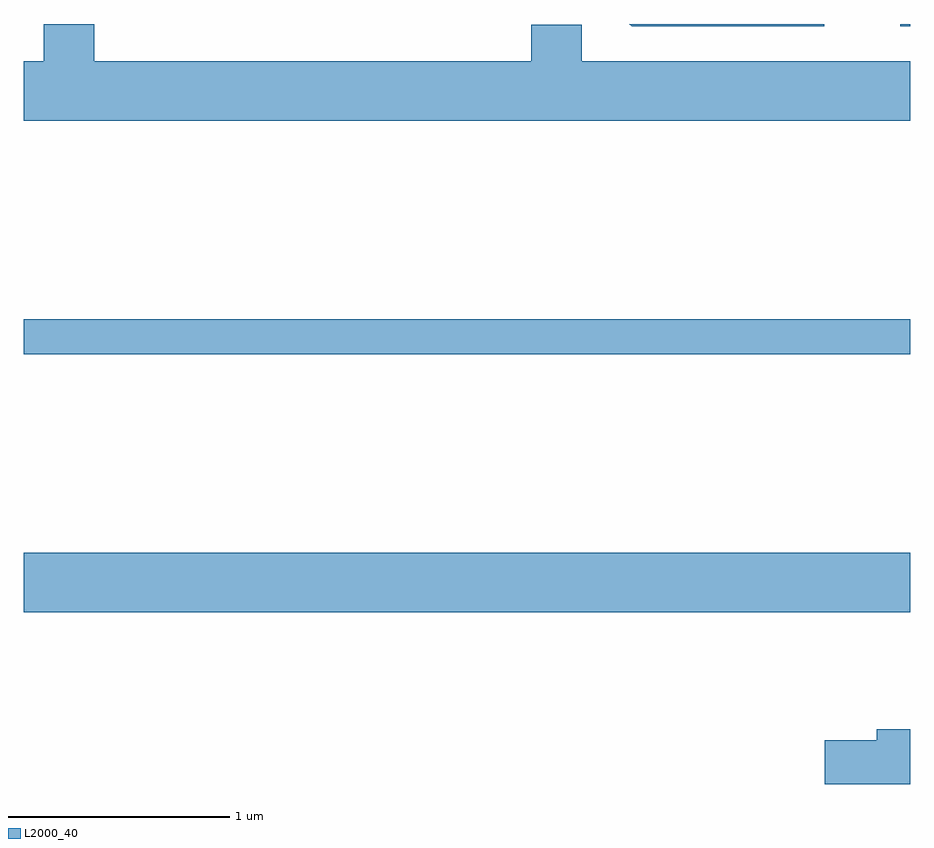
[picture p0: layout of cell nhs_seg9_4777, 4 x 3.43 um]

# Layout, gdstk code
import gdstk
lib = gdstk.Library(unit=1e-6, precision=1e-09)
def R(c, l, rs):  # rectangles x0, y0, x1, y1
    for r in rs: c.add(gdstk.rectangle(r[:2], r[2:], *l))
def P(c, l, *ps):  # polygons
    for p in ps: c.add(gdstk.Polygon(p, *l))
L2000_40 = (2000, 40)

nhs_seg9_4777 = lib.new_cell('nhs_seg9_4777')
R(nhs_seg9_4777, L2000_40, [(325.611,2031.776,329.611,2032.044), (325.611,2032.941,329.611,2033.099), (329.566,2034.421,329.611,2034.432)])
P(nhs_seg9_4777, L2000_40, [(329.611,2034.264),(328.129,2034.264),(328.129,2034.429),(327.901,2034.429),(327.901,2034.264),(325.929,2034.264),(325.929,2034.432),(325.701,2034.432),(325.701,2034.264),(325.611,2034.264),(325.611,2033.996),(329.611,2033.996)],
  [(329.224,2034.432),(328.343,2034.432),(328.354,2034.421),(329.224,2034.421)],
  [(329.611,2031.249),(329.461,2031.249),(329.461,2031.199),(329.226,2031.199),(329.226,2031.001),(329.611,2031.001)])

lib.write_gds('nhs_seg9_4777.gds')
